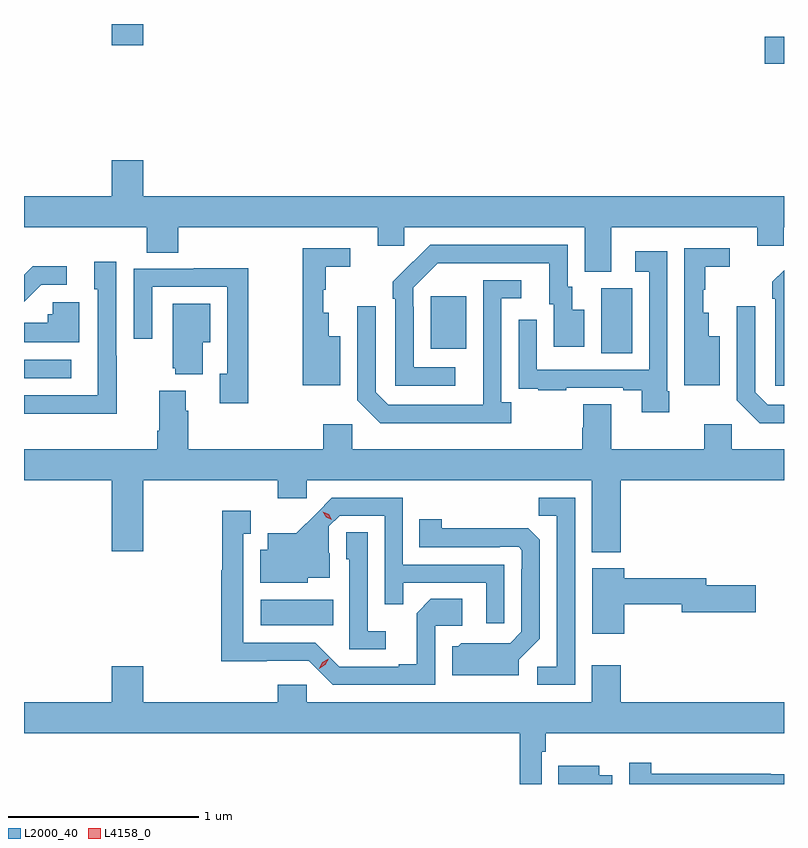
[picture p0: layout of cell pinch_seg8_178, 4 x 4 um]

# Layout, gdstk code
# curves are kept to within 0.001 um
import gdstk
lib = gdstk.Library(unit=1e-6, precision=1e-09)
def R(c, l, rs):  # rectangles x0, y0, x1, y1
    for r in rs: c.add(gdstk.rectangle(r[:2], r[2:], *l))
def P(c, l, *ps):  # polygons
    for p in ps: c.add(gdstk.Polygon(p, *l))
L2000_40 = (2000, 40)
L4158_0 = (4158, 0)

pinch_seg8_178 = lib.new_cell('pinch_seg8_178')
R(pinch_seg8_178, L2000_40, [(633.324,1153.034,633.704,1153.168), (632.077,1154.334,632.326,1154.43), (635.114,1154.464,635.278,1154.808), (634.217,1154.489,634.405,1154.764), (635.976,1155.989,636.077,1156.131), (632.54,1156.086,632.704,1156.198)])
P(pinch_seg8_178, L2000_40, [(632.704,1155.481),(632.54,1155.481),(632.54,1155.292),(632.077,1155.292),(632.077,1155.128),(632.723,1155.128),(632.723,1154.995),(632.888,1154.995),(632.888,1155.128),(633.938,1155.128),(633.938,1155.03),(634.077,1155.03),(634.077,1155.128),(635.027,1155.128),(635.027,1154.893),(635.167,1154.893),(635.167,1155.128),(635.936,1155.128),(635.936,1155.03),(636.075,1155.03),(636.075,1155.128),(636.077,1155.128),(636.077,1155.292),(632.704,1155.292)],
  [(634.348,1154.391),(634.128,1154.391),(634.128,1154.711),(634.125,1154.711),(634.125,1154.811),(634.254,1154.94),(634.841,1154.94),(634.841,1154.724),(634.865,1154.724),(634.865,1154.499),(635.026,1154.499),(635.026,1154.695),(634.963,1154.695),(634.963,1154.814),(634.938,1154.814),(634.938,1155.036),(634.214,1155.036),(634.017,1154.841),(634.017,1154.753),(634.032,1154.753),(634.032,1154.295),(634.348,1154.295)],
  [(633.742,1154.554),(633.682,1154.554),(633.682,1154.677),(633.653,1154.677),(633.653,1154.799),(633.664,1154.799),(633.664,1154.92),(633.793,1154.92),(633.793,1155.018),(633.543,1155.018),(633.543,1154.297),(633.742,1154.297)],
  [(635.74,1154.554),(635.68,1154.554),(635.68,1154.677),(635.651,1154.677),(635.651,1154.799),(635.662,1154.799),(635.662,1154.92),(635.791,1154.92),(635.791,1155.018),(635.553,1155.018),(635.553,1154.55),(635.552,1154.55),(635.552,1154.297),(635.74,1154.297)],
  [(635.472,1154.266),(635.463,1154.266),(635.463,1155.001),(635.295,1155.001),(635.295,1154.895),(635.367,1154.895),(635.367,1154.379),(634.776,1154.379),(634.776,1154.641),(634.68,1154.641),(634.68,1154.386),(634.681,1154.386),(634.681,1154.277),(634.783,1154.277),(634.783,1154.271),(634.931,1154.271),(634.931,1154.283),(635.231,1154.283),(635.231,1154.271),(635.327,1154.271),(635.327,1154.154),(635.472,1154.154)],
  [(632.565,1154.453),(632.562,1154.453),(632.562,1154.947),(632.447,1154.947),(632.447,1154.802),(632.466,1154.802),(632.466,1154.456),(632.465,1154.456),(632.465,1154.244),(632.077,1154.244),(632.077,1154.148),(632.101,1154.148),(632.101,1154.147),(632.565,1154.147)],
  [(632.167,1154.826),(632.302,1154.826),(632.302,1154.924),(632.123,1154.924),(632.077,1154.878),(632.077,1154.736)],
  [(633.256,1154.912),(632.971,1154.912),(632.971,1154.91),(632.655,1154.91),(632.655,1154.541),(632.751,1154.541),(632.751,1154.814),(633.147,1154.814),(633.147,1154.358),(633.107,1154.358),(633.107,1154.202),(633.256,1154.202)],
  [(636.077,1154.903),(636.015,1154.841),(636.015,1154.753),(636.03,1154.753),(636.03,1154.295),(636.077,1154.295)],
  [(634.642,1154.206),(634.59,1154.206),(634.59,1154.754),(634.693,1154.754),(634.693,1154.85),(634.494,1154.85),(634.493,1154.193),(633.993,1154.193),(633.927,1154.259),(633.927,1154.713),(633.831,1154.713),(633.831,1154.217),(633.952,1154.096),(634.642,1154.096)],
  [(632.368,1154.734),(632.229,1154.734),(632.229,1154.67),(632.203,1154.67),(632.203,1154.626),(632.077,1154.626),(632.077,1154.522),(632.368,1154.522)],
  [(633.019,1154.522),(633.058,1154.522),(633.058,1154.725),(632.861,1154.725),(632.861,1154.385),(632.873,1154.385),(632.873,1154.354),(633.019,1154.354)],
  [(636.077,1154.193),(635.991,1154.193),(635.925,1154.259),(635.925,1154.713),(635.829,1154.713),(635.829,1154.217),(635.95,1154.096),(636.077,1154.096)],
  [(632.789,1154.269),(632.789,1154.056),(632.777,1154.056),(632.777,1153.96),(632.077,1153.96),(632.077,1153.796),(632.54,1153.796),(632.54,1153.422),(632.704,1153.422),(632.704,1153.796),(633.413,1153.796),(633.413,1153.701),(633.564,1153.701),(633.564,1153.796),(635.066,1153.796),(635.066,1153.418),(635.219,1153.418),(635.219,1153.796),(636.077,1153.796),(636.077,1153.96),(635.802,1153.96),(635.802,1154.092),(635.656,1154.092),(635.656,1153.96),(635.167,1153.96),(635.167,1154.198),(635.02,1154.198),(635.02,1154.073),(635.015,1154.073),(635.015,1153.96),(633.804,1153.96),(633.804,1154.092),(633.653,1154.092),(633.653,1153.96),(632.942,1153.96),(632.942,1154.162),(632.929,1154.162),(632.929,1154.269)],
  [(634.605,1153.353),(634.071,1153.353),(634.071,1153.704),(633.698,1153.704),(633.511,1153.519),(633.359,1153.519),(633.359,1153.432),(633.32,1153.432),(633.32,1153.256),(633.57,1153.256),(633.57,1153.283),(633.685,1153.283),(633.685,1153.412),(633.681,1153.412),(633.681,1153.554),(633.738,1153.611),(633.975,1153.611),(633.975,1153.144),(634.073,1153.144),(634.073,1153.257),(634.509,1153.257),(634.509,1153.044),(634.605,1153.044)],
  [(634.977,1153.704),(634.786,1153.704),(634.786,1153.609),(634.881,1153.609),(634.881,1152.816),(634.779,1152.816),(634.779,1152.72),(634.977,1152.72)],
  [(634.242,1153.032),(634.384,1153.032),(634.384,1153.172),(634.219,1153.172),(634.143,1153.096),(634.143,1152.829),(634.049,1152.829),(634.049,1152.816),(633.735,1152.816),(633.609,1152.942),(633.232,1152.942),(633.232,1153.515),(633.271,1153.515),(633.271,1153.636),(633.121,1153.636),(633.121,1153.323),(633.114,1153.323),(633.114,1152.845),(633.576,1152.846),(633.702,1152.72),(634.242,1152.72)],
  [(634.681,1152.852),(634.791,1152.962),(634.791,1153.484),(634.732,1153.543),(634.275,1153.544),(634.275,1153.591),(634.156,1153.591),(634.156,1153.443),(634.58,1153.443),(634.58,1153.446),(634.68,1153.446),(634.698,1153.428),(634.698,1153.328),(634.695,1153.328),(634.695,1152.999),(634.635,1152.939),(634.378,1152.94),(634.362,1152.924),(634.331,1152.924),(634.331,1152.77),(634.681,1152.77)],
  [(633.982,1153.003),(633.885,1153.003),(633.885,1153.523),(633.774,1153.523),(633.774,1153.38),(633.789,1153.38),(633.789,1152.906),(633.982,1152.906)],
  [(635.236,1153.144),(635.54,1153.144),(635.54,1153.102),(635.929,1153.102),(635.929,1153.244),(635.668,1153.244),(635.668,1153.28),(635.236,1153.28),(635.236,1153.333),(635.069,1153.333),(635.069,1152.99),(635.236,1152.99)],
  [(634.803,1152.368),(634.823,1152.368),(634.823,1152.464),(636.077,1152.464),(636.077,1152.628),(635.219,1152.628),(635.219,1152.823),(635.066,1152.823),(635.066,1152.628),(633.564,1152.628),(633.564,1152.721),(633.413,1152.721),(633.413,1152.628),(632.704,1152.628),(632.704,1152.817),(632.54,1152.817),(632.54,1152.628),(632.077,1152.628),(632.077,1152.464),(634.687,1152.464),(634.687,1152.198),(634.803,1152.198)],
  [(636.077,1152.249),(636.008,1152.249),(636.008,1152.251),(635.378,1152.251),(635.378,1152.31),(635.262,1152.31),(635.262,1152.198),(636.077,1152.198)],
  [(635.173,1152.244),(635.104,1152.244),(635.104,1152.295),(634.888,1152.295),(634.888,1152.198),(635.173,1152.198)])
P(pinch_seg8_178, L4158_0, [(633.698,1153.588),(633.667,1153.603),(633.649,1153.632),(633.649,1153.632),(633.65,1153.632),(633.68,1153.617),(633.698,1153.588),(633.698,1153.588)],
  [(633.631,1152.805),(633.631,1152.805),(633.648,1152.838),(633.68,1152.858),(633.68,1152.858),(633.68,1152.857),(633.663,1152.825),(633.632,1152.805)])

lib.write_gds('pinch_seg8_178.gds')
